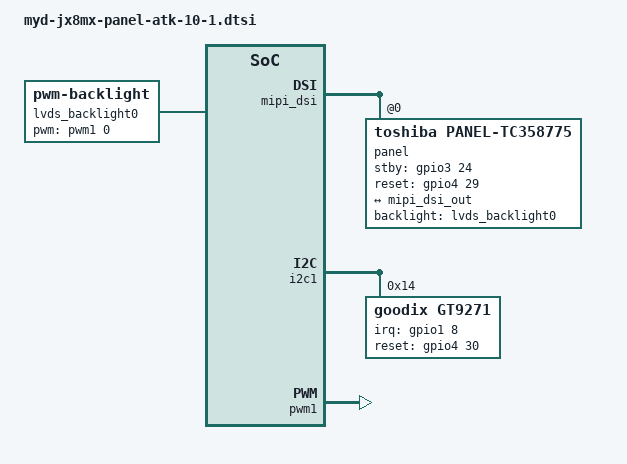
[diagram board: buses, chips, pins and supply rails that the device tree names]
/{
	lvds_backlight0: lvds_backlight@0 {
		compatible = "pwm-backlight";
		pwms = <&pwm1 0 5000000 >;

		brightness-levels = < 0  1  2  3  4  5  6  7  8  9
				     10 11 12 13 14 15 16 17 18 19
				     20 21 22 23 24 25 26 27 28 29
				     30 31 32 33 34 35 36 37 38 39
				     40 41 42 43 44 45 46 47 48 49
				     50 51 52 53 54 55 56 57 58 59
				     60 61 62 63 64 65 66 67 68 69
				     70 71 72 73 74 75 76 77 78 79
				     80 81 82 83 84 85 86 87 88 89
				     90 91 92 93 94 95 96 97 98 99
				    100>;
		default-brightness-level = <80>;
	};
};


&lcdif{

	max-memory-bandwidth = <245760000>; /* 1280x800-32@60 */
};
&mipi_dsi{
	panel@0 {
		compatible = "toshiba,panel-tc358775";
		reg = <0>;
		pinctrl-0 = <&pinctrl_mipi_dsi_en>;
		stby-gpio = <&gpio3 24 GPIO_ACTIVE_HIGH>;
		reset-gpio = <&gpio4 29 GPIO_ACTIVE_HIGH>;
		dsi-lanes = <4>;
		video-mode = <0>;
		panel-width-mm = <230>;
		panel-height-mm = <150>;
		
		toshiba,debug = <0>;
		toshiba,ppi_tx_rx_ta =         <0x00030005>;
		toshiba,ppi_lptxtimecnt =      <0x00000003>;
		toshiba,ppi_d0s_clrsipocount = <0x00000004>;
		toshiba,ppi_d1s_clrsipocount = <0x00000004>;
		toshiba,ppi_d2s_clrsipocount = <0x00000004>;
		toshiba,ppi_d3s_clrsipocount = <0x00000004>;
		toshiba,ppi_laneenable =       <0x0000001f>; 
		toshiba,dsi_laneenable =       <0x0000001f>; 
		toshiba,ppi_sartppi =          <0x00000001>; 
		toshiba,dsi_sartppi =          <0x00000001>;
		
		toshiba,vpctrl =               <0x03200100>; 
		toshiba,htim1 =                <0x003c000a>;
		toshiba,htim2 =                <0x005a0500>;
		toshiba,vtim1 =                <0x000A0003>;
		toshiba,vtim2 =                <0x000A0320>;
		toshiba,vfuen =                <0x00000001>;
		toshiba,lvphy0 =               <0x00448006>;
		toshiba,lvphy0_1 =             <0x00048006>;
		toshiba,sysrst =               <0x00000004>; 

		
		toshiba,lvmx0003 =             <0x03020100>;
		toshiba,lvmx0407 = 						 <0x08050704>;
		toshiba,lvmx0811 = 						 <0x0f0e0a09>;
		toshiba,lvmx1215 = 						 <0x100d0c0b>;
		toshiba,lvmx1619 = 						 <0x12111716>;
		toshiba,lvmx2023 = 						 <0x1b151413>;
		toshiba,lvmx2427 = 						 <0x061a1918>;
		
		toshiba,lvcfg =                <0x00000031>;
		
		backlight = <&lvds_backlight0>;
		client-device  = <&tc358775>;
		
		display-timings {
				native-mode = <&timing0>;
				timing0:timing0{
					clock-frequency = <71000000>;
					hactive = <1280>;
					hsync-len = <10>;
					hback-porch = <70>;
					hfront-porch = <90>;
					vactive = <799>;
					vsync-len = <3>;
					vback-porch = <10>;
					vfront-porch = <10>;
					
					
					
					
					vsync-active = <0>;
					hsync-active =<0>;
					de-active =<0>;
					pixelclk-active =<0>;
				};
		};
		port {
			panel1_in: endpoint {
				remote-endpoint = <&mipi_dsi_out>;
			};
		};
	};

};
&iomuxc {
	
	pinctrl_pwm1: lvds0pwm1grp {
		fsl,pins = <
			MX8MQ_IOMUXC_GPIO1_IO01_PWM1_OUT 0x19
		>;
	};
	
	pinctrl_i2c1_gt9271_io: gt9271_iogrp {
		fsl,pins = <
			MX8MQ_IOMUXC_GPIO1_IO08_GPIO1_IO8      0x19
			MX8MQ_IOMUXC_SAI3_RXD_GPIO4_IO30      0x19
		>;
	};


};


&i2c1 {
	gt9271@14 {
		compatible = "goodix,gt9271";
		reg = <0x14>;
		pinctrl-names = "default";
		pinctrl-0 = <&pinctrl_i2c1_gt9271_io>;
		
		interrupt-parent = <&gpio1>;
		interrupts = <8  IRQ_TYPE_EDGE_FALLING>;
		
		synaptics,x-rotation;
		synaptics,y-rotation;
	  irq-gpios = <&gpio1 8 GPIO_ACTIVE_HIGH>;	
		reset-gpios = <&gpio4 30 GPIO_ACTIVE_HIGH>;
		status = "okay";

	};

};

&pwm1 {
	pinctrl-names = "default";
	pinctrl-0 = <&pinctrl_pwm1>;
	status = "okay";
};
